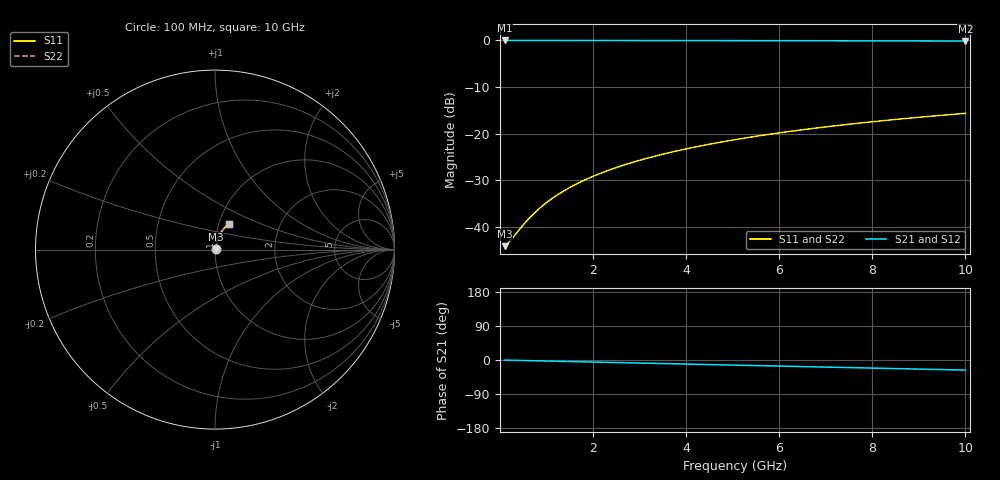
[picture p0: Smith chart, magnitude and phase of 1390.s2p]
# Hz S RI R 50.00
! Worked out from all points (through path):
!   100 points, 100 MHz to 10 GHz, reference 50 ohm
!   highest |S21| = -0.05 dB at 100 MHz (marker M1); lowest = -0.2 dB at 10 GHz (marker M2)
!   group delay of S21, straight-line fit = 7.4 ps
!   lowest |S11| = -44.0 dB at 100 MHz (marker M3), VSWR 1.01, Z = 50.6 + j0.172 ohm
!   |S11| at or under -10 dB: start of sweep to end of sweep
!   |S22| runs from -44.0 to -15.6 dB; largest |S21 - S12| = 0
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1e8  0.00604 0.0017  0.994 -0.00465  0.994 -0.00465  0.00604 0.0017
2e8  0.0061 0.0034  0.9939 -0.00931  0.9939 -0.00931  0.0061 0.0034
5e8  0.00634 0.00849  0.9935 -0.0233  0.9935 -0.0233  0.00634 0.00849
6e8  0.00645 0.0102  0.9934 -0.0279  0.9934 -0.0279  0.00645 0.0102
7e8  0.00656 0.0119  0.9932 -0.0326  0.9932 -0.0326  0.00656 0.0119
9e8  0.00685 0.0153  0.9928 -0.0419  0.9928 -0.0419  0.00685 0.0153
1.1e9  0.00719 0.0186  0.9923 -0.0511  0.9923 -0.0511  0.00719 0.0186
1.3e9  0.00759 0.022  0.9916 -0.0604  0.9916 -0.0604  0.00759 0.022
1.5e9  0.00805 0.0254  0.9909 -0.0697  0.9909 -0.0697  0.00805 0.0254
1.8e9  0.00886 0.0304  0.9897 -0.0836  0.9897 -0.0836  0.00886 0.0304
2.1e9  0.00981 0.0354  0.9882 -0.0974  0.9882 -0.0974  0.00981 0.0354
2.5e9  0.0113 0.042  0.9859 -0.1159  0.9859 -0.1159  0.0113 0.042
2.9e9  0.013 0.0486  0.9832 -0.1342  0.9832 -0.1342  0.013 0.0486
3.4e9  0.0155 0.0567  0.9793 -0.1571  0.9793 -0.1571  0.0155 0.0567
3.8e9  0.0178 0.063  0.9758 -0.1753  0.9758 -0.1753  0.0178 0.063
4.2e9  0.0203 0.0693  0.9719 -0.1934  0.9719 -0.1934  0.0203 0.0693
5.1e9  0.0267 0.083  0.9617 -0.2336  0.9617 -0.2336  0.0267 0.083
5.9e9  0.0334 0.0947  0.9511 -0.2689  0.9511 -0.2689  0.0334 0.0947
6.7e9  0.0409 0.1059  0.9391 -0.3036  0.9391 -0.3036  0.0409 0.1059
7.5e9  0.0492 0.1164  0.9257 -0.3376  0.9257 -0.3376  0.0492 0.1164
8.4e9  0.0594 0.1274  0.9091 -0.375  0.9091 -0.375  0.0594 0.1274
1e10  0.0796 0.1447  0.8757 -0.439  0.8757 -0.439  0.0796 0.1447
